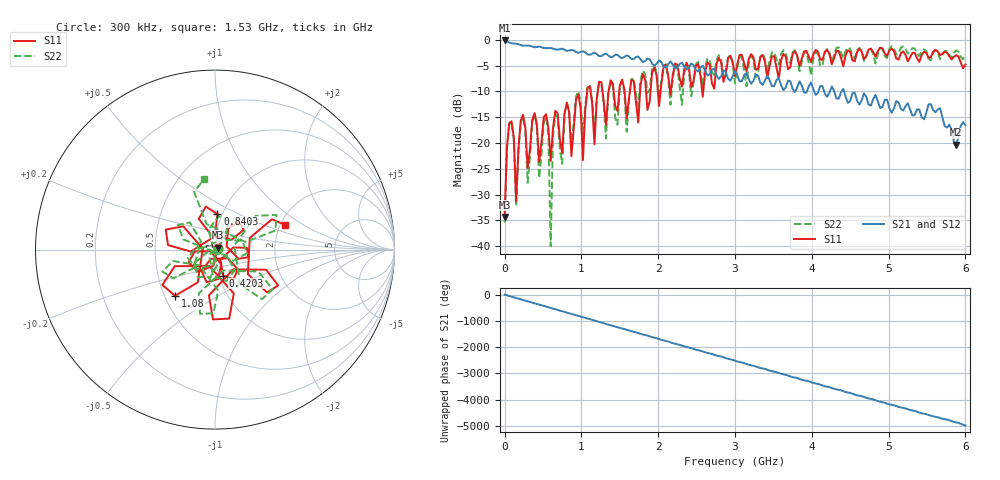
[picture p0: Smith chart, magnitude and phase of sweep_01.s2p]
! 2-port S-parameters written by miniscope-char acquisition
! instrument: Pico Technology Ltd,PicoVNA-106,10080,5.3.4
! transport: scpi
! endpoint: 127.0.0.1:5025
! demo: false
! calibration: software
# HZ S RI R 50
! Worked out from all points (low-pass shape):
!   201 points, 300 kHz to 6 GHz, reference 50 ohm
!   highest |S21| = -0.13 dB at 300 kHz (marker M1); lowest = -20.3 dB at 5.88 GHz (marker M2)
!   |S21| within 3 dB of the highest: start of sweep to 1.228 GHz; 1.264 GHz to 1.36 GHz (95.47 MHz wide, 7.28 % of centre)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
!   lowest |S11| = -34.3 dB at 300 kHz (marker M3), VSWR 1.04, Z = 51.6 + j1.18 ohm
!   |S11| at or under -10 dB: start of sweep to 1.076 GHz; 1.119 GHz to 1.214 GHz (94.67 MHz wide, 8.12 % of centre); 1.275 GHz to 1.354 GHz (78.45 MHz wide, 5.97 % of centre)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
!   |S22| runs from -40.0 to -1.2 dB; largest |S21 - S12| = 0.011
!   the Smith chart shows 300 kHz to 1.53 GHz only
!   S11 on the Smith chart (normalised r, x): 300 kHz: 1.03, +0.02; 420.3 MHz: 1.05, -0.31; 840.3 MHz: 0.95, +0.39; 1.08 GHz: 0.57, -0.33; 1.53 GHz: 2.11, +0.70
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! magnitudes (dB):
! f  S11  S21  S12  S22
! 300 kHz  -34.3  -0.1  -0.2  -35.4
! 60.3 MHz  -16.1  -0.5  -0.5  -16.4
! 150.3 MHz  -31.3  -0.8  -0.8  -32.2
! 210.3 MHz  -15.6  -1.0  -1.0  -16.1
! 300.3 MHz  -24.8  -1.1  -1.1  -27.7
! 420.3 MHz  -16.4  -1.4  -1.4  -16.8
! 570.3 MHz  -17.0  -1.6  -1.6  -18.5
! 600.3 MHz  -23.5  -1.6  -1.6  -40.0
! 660.3 MHz  -13.8  -1.9  -1.9  -14.5
! 840.3 MHz  -14.0  -2.1  -2.1  -13.7
! 1.02 GHz  -23.3  -2.2  -2.2  -18.2
! 1.08 GHz  -9.4  -2.8  -2.8  -9.0
! 1.17 GHz  -20.2  -2.5  -2.4  -18.0
! 1.23 GHz  -8.1  -3.2  -3.1  -8.2
! 1.32 GHz  -16.5  -2.7  -2.7  -19.2
! 1.53 GHz  -7.7  -3.6  -3.6  -8.0
! 2.01 GHz  -12.8  -4.0  -3.9  -10.9
! 3 GHz  -7.0  -6.1  -6.1  -8.4
! 4.02 GHz  -2.7  -9.6  -9.6  -3.7
! 5.01 GHz  -2.1  -13.3  -13.3  -1.8
! 5.88 GHz  -3.0  -20.3  -20.3  -2.1
! 6 GHz  -4.8  -16.5  -16.5  -2.9
